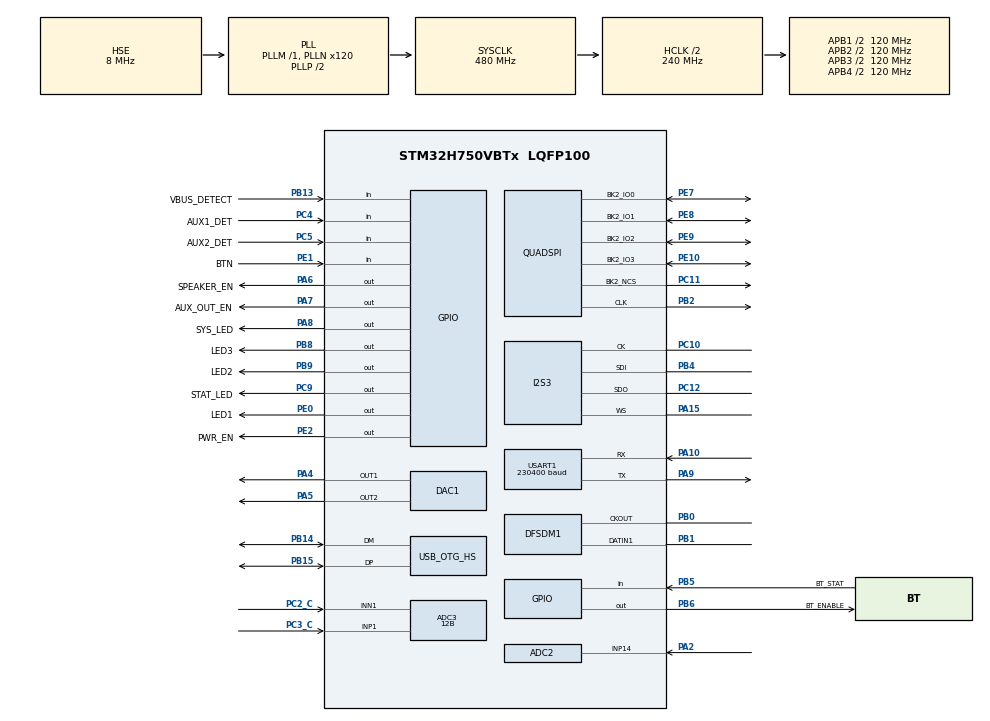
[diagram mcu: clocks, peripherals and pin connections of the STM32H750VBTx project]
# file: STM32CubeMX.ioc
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ADC2.Channel-0\#ChannelRegularConversion=ADC_CHANNEL_14
ADC2.NbrOfConversionFlag=1
ADC2.OffsetNumber-0\#ChannelRegularConversion=ADC_OFFSET_NONE
ADC2.OffsetSignedSaturation-0\#ChannelRegularConversion=DISABLE
ADC2.Rank-0\#ChannelRegularConversion=1
ADC2.Resolution=ADC_RESOLUTION_8B
ADC2.SamplingTime-0\#ChannelRegularConversion=ADC_SAMPLETIME_810CYCLES_5
ADC3.Channel-4\#ChannelRegularConversion=ADC_CHANNEL_1
ADC3.ConversionDataManagement=ADC_CONVERSIONDATA_DMA_CIRCULAR
ADC3.ExternalTrigConv=ADC_EXTERNALTRIG_T6_TRGO
ADC3.NbrOfConversionFlag=1
ADC3.Offset-4\#ChannelRegularConversion=32768
ADC3.OffsetNumber-4\#ChannelRegularConversion=ADC_OFFSET_1
ADC3.OffsetSignedSaturation-4\#ChannelRegularConversion=ENABLE
ADC3.Overrun=ADC_OVR_DATA_OVERWRITTEN
ADC3.OversamplingMode=ENABLE
ADC3.Rank-4\#ChannelRegularConversion=1
ADC3.Ratio=16
ADC3.Resolution=ADC_RESOLUTION_12B
ADC3.SamplingTime-4\#ChannelRegularConversion=ADC_SAMPLETIME_16CYCLES_5
ADC3.SingleDiff-4\#ChannelRegularConversion=ADC_DIFFERENTIAL_ENDED
Bdma.ADC3.0.Direction=DMA_PERIPH_TO_MEMORY
Bdma.ADC3.0.EventEnable=DISABLE
Bdma.ADC3.0.Instance=BDMA_Channel0
Bdma.ADC3.0.MemDataAlignment=DMA_MDATAALIGN_HALFWORD
Bdma.ADC3.0.MemInc=DMA_MINC_ENABLE
Bdma.ADC3.0.Mode=DMA_CIRCULAR
Bdma.ADC3.0.PeriphDataAlignment=DMA_PDATAALIGN_HALFWORD
Bdma.ADC3.0.PeriphInc=DMA_PINC_DISABLE
Bdma.ADC3.0.Polarity=HAL_DMAMUX_REQ_GEN_RISING
Bdma.ADC3.0.Priority=DMA_PRIORITY_LOW
Bdma.ADC3.0.RequestNumber=1
Bdma.ADC3.0.SignalID=NONE
Bdma.ADC3.0.SyncEnable=DISABLE
Bdma.ADC3.0.SyncPolarity=HAL_DMAMUX_SYNC_NO_EVENT
Bdma.ADC3.0.SyncRequestNumber=1
Bdma.ADC3.0.SyncSignalID=NONE
Bdma.Request0=ADC3
Bdma.RequestsNb=1
CORTEX_M7.AccessPermission_S-Cortex_Memory_Protection_Unit_Region1_Settings_S=MPU_REGION_FULL_ACCESS
CORTEX_M7.AccessPermission_S-Cortex_Memory_Protection_Unit_Region2_Settings_S=MPU_REGION_FULL_ACCESS
CORTEX_M7.AccessPermission_Spec=MPU_REGION_FULL_ACCESS
CORTEX_M7.BaseAddress_S-Cortex_Memory_Protection_Unit_Region1_Settings_S=0x30000000
CORTEX_M7.BaseAddress_S-Cortex_Memory_Protection_Unit_Region2_Settings_S=0x38000000
CORTEX_M7.CPU_DCache=Enabled
CORTEX_M7.CPU_ICache=Enabled
CORTEX_M7.DisableExec_S-Cortex_Memory_Protection_Unit_Region1_Settings_S=MPU_INSTRUCTION_ACCESS_DISABLE
CORTEX_M7.DisableExec_S-Cortex_Memory_Protection_Unit_Region2_Settings_S=MPU_INSTRUCTION_ACCESS_DISABLE
CORTEX_M7.DisableExec_Spec=MPU_INSTRUCTION_ACCESS_ENABLE
CORTEX_M7.Enable_S-Cortex_Memory_Protection_Unit_Region1_Settings_S=MPU_REGION_ENABLE
CORTEX_M7.Enable_S-Cortex_Memory_Protection_Unit_Region2_Settings_S=MPU_REGION_ENABLE
CORTEX_M7.Enable_S-Cortex_Memory_Protection_Unit_Region3_Settings_S=__NULL
CORTEX_M7.IsBufferable_Spec=MPU_ACCESS_BUFFERABLE
CORTEX_M7.IsCacheable_Spec=MPU_ACCESS_CACHEABLE
CORTEX_M7.IsShareable_S-Cortex_Memory_Protection_Unit_Region1_Settings_S=MPU_ACCESS_SHAREABLE
CORTEX_M7.IsShareable_S-Cortex_Memory_Protection_Unit_Region2_Settings_S=MPU_ACCESS_SHAREABLE
CORTEX_M7.IsShareable_Spec=MPU_ACCESS_NOT_SHAREABLE
CORTEX_M7.Size_S-Cortex_Memory_Protection_Unit_Region1_Settings_S=MPU_REGION_SIZE_128KB
CORTEX_M7.Size_S-Cortex_Memory_Protection_Unit_Region2_Settings_S=MPU_REGION_SIZE_64KB
CORTEX_M7.default_mode_Activation=1
DAC1.DAC_Channel-DAC_OUT1=DAC_CHANNEL_1
DAC1.DAC_Channel-DAC_OUT2=DAC_CHANNEL_2
DAC1.DAC_Trigger-DAC_OUT1=DAC_TRIGGER_T7_TRGO
DAC1.DAC_Trigger-DAC_OUT2=DAC_TRIGGER_T7_TRGO
DFSDM1.Divider=25
DFSDM1.DmaMode_reg_FIL0=ENABLE
DFSDM1.DmaMode_reg_FIL1=ENABLE
DFSDM1.FastMode_reg_FIL0=ENABLE
DFSDM1.FastMode_reg_FIL1=ENABLE
DFSDM1.Filter_regChannel_FIL0=DFSDM_CHANNEL_0
DFSDM1.Filter_regChannel_FIL1=DFSDM_CHANNEL_1
DFSDM1.Filter_regChannel_FIL2=__NULL
DFSDM1.Filter_regChannel_FIL3=__NULL
DFSDM1.Fosr_FIL0=64
DFSDM1.Fosr_FIL1=64
DFSDM1.RightBitShift_CH0=2
DFSDM1.RightBitShift_CH1=2
DFSDM1.Selection=DFSDM_CHANNEL_OUTPUT_CLOCK_AUDIO
DFSDM1.SincOrder_FIL0=DFSDM_FILTER_SINC4_ORDER
DFSDM1.SincOrder_FIL1=DFSDM_FILTER_SINC4_ORDER
DFSDM1.Trigger_reg_FIL1=DFSDM_FILTER_SYNC_TRIGGER
DFSDM1.Type_spi_CH1=DFSDM_CHANNEL_SPI_FALLING
Dma.DAC1_CH1.3.Direction=DMA_MEMORY_TO_PERIPH
Dma.DAC1_CH1.3.EventEnable=DISABLE
Dma.DAC1_CH1.3.FIFOMode=DMA_FIFOMODE_ENABLE
Dma.DAC1_CH1.3.FIFOThreshold=DMA_FIFO_THRESHOLD_FULL
Dma.DAC1_CH1.3.Instance=DMA1_Stream3
Dma.DAC1_CH1.3.MemBurst=DMA_MBURST_INC4
Dma.DAC1_CH1.3.MemDataAlignment=DMA_MDATAALIGN_WORD
Dma.DAC1_CH1.3.MemInc=DMA_MINC_ENABLE
Dma.DAC1_CH1.3.Mode=DMA_CIRCULAR
Dma.DAC1_CH1.3.PeriphBurst=DMA_PBURST_SINGLE
Dma.DAC1_CH1.3.PeriphDataAlignment=DMA_PDATAALIGN_WORD
Dma.DAC1_CH1.3.PeriphInc=DMA_PINC_DISABLE
Dma.DAC1_CH1.3.Polarity=HAL_DMAMUX_REQ_GEN_RISING
Dma.DAC1_CH1.3.Priority=DMA_PRIORITY_VERY_HIGH
Dma.DAC1_CH1.3.RequestNumber=1
Dma.DAC1_CH1.3.SignalID=NONE
Dma.DAC1_CH1.3.SyncEnable=DISABLE
Dma.DAC1_CH1.3.SyncPolarity=HAL_DMAMUX_SYNC_NO_EVENT
Dma.DAC1_CH1.3.SyncRequestNumber=1
Dma.DAC1_CH1.3.SyncSignalID=NONE
Dma.DFSDM1_FLT0.0.Direction=DMA_PERIPH_TO_MEMORY
Dma.DFSDM1_FLT0.0.EventEnable=DISABLE
Dma.DFSDM1_FLT0.0.FIFOMode=DMA_FIFOMODE_ENABLE
Dma.DFSDM1_FLT0.0.FIFOThreshold=DMA_FIFO_THRESHOLD_FULL
Dma.DFSDM1_FLT0.0.Instance=DMA1_Stream0
Dma.DFSDM1_FLT0.0.MemBurst=DMA_MBURST_INC8
Dma.DFSDM1_FLT0.0.MemDataAlignment=DMA_MDATAALIGN_HALFWORD
Dma.DFSDM1_FLT0.0.MemInc=DMA_MINC_ENABLE
Dma.DFSDM1_FLT0.0.Mode=DMA_CIRCULAR
Dma.DFSDM1_FLT0.0.PeriphBurst=DMA_PBURST_SINGLE
Dma.DFSDM1_FLT0.0.PeriphDataAlignment=DMA_PDATAALIGN_HALFWORD
Dma.DFSDM1_FLT0.0.PeriphInc=DMA_PINC_DISABLE
Dma.DFSDM1_FLT0.0.Polarity=HAL_DMAMUX_REQ_GEN_RISING
Dma.DFSDM1_FLT0.0.Priority=DMA_PRIORITY_VERY_HIGH
Dma.DFSDM1_FLT0.0.RequestNumber=1
Dma.DFSDM1_FLT0.0.SignalID=NONE
Dma.DFSDM1_FLT0.0.SyncEnable=DISABLE
Dma.DFSDM1_FLT0.0.SyncPolarity=HAL_DMAMUX_SYNC_NO_EVENT
Dma.DFSDM1_FLT0.0.SyncRequestNumber=1
Dma.DFSDM1_FLT0.0.SyncSignalID=NONE
Dma.DFSDM1_FLT1.1.Direction=DMA_PERIPH_TO_MEMORY
Dma.DFSDM1_FLT1.1.EventEnable=DISABLE
Dma.DFSDM1_FLT1.1.FIFOMode=DMA_FIFOMODE_ENABLE
Dma.DFSDM1_FLT1.1.FIFOThreshold=DMA_FIFO_THRESHOLD_FULL
Dma.DFSDM1_FLT1.1.Instance=DMA1_Stream1
Dma.DFSDM1_FLT1.1.MemBurst=DMA_MBURST_INC8
Dma.DFSDM1_FLT1.1.MemDataAlignment=DMA_MDATAALIGN_HALFWORD
Dma.DFSDM1_FLT1.1.MemInc=DMA_MINC_ENABLE
Dma.DFSDM1_FLT1.1.Mode=DMA_CIRCULAR
Dma.DFSDM1_FLT1.1.PeriphBurst=DMA_PBURST_SINGLE
Dma.DFSDM1_FLT1.1.PeriphDataAlignment=DMA_PDATAALIGN_HALFWORD
Dma.DFSDM1_FLT1.1.PeriphInc=DMA_PINC_DISABLE
Dma.DFSDM1_FLT1.1.Polarity=HAL_DMAMUX_REQ_GEN_RISING
Dma.DFSDM1_FLT1.1.Priority=DMA_PRIORITY_VERY_HIGH
Dma.DFSDM1_FLT1.1.RequestNumber=1
Dma.DFSDM1_FLT1.1.SignalID=NONE
Dma.DFSDM1_FLT1.1.SyncEnable=DISABLE
Dma.DFSDM1_FLT1.1.SyncPolarity=HAL_DMAMUX_SYNC_NO_EVENT
Dma.DFSDM1_FLT1.1.SyncRequestNumber=1
Dma.DFSDM1_FLT1.1.SyncSignalID=NONE
Dma.Request0=DFSDM1_FLT0
Dma.Request1=DFSDM1_FLT1
Dma.Request2=USART1_TX
Dma.Request3=DAC1_CH1
Dma.Request4=SPI3_RX
Dma.Request5=SPI3_TX
Dma.SPI3_RX.4.Direction=DMA_PERIPH_TO_MEMORY
Dma.SPI3_RX.4.EventEnable=DISABLE
Dma.SPI3_RX.4.FIFOMode=DMA_FIFOMODE_ENABLE
Dma.SPI3_RX.4.FIFOThreshold=DMA_FIFO_THRESHOLD_FULL
Dma.SPI3_RX.4.Instance=DMA1_Stream4
Dma.SPI3_RX.4.MemBurst=DMA_MBURST_INC8
Dma.SPI3_RX.4.MemDataAlignment=DMA_MDATAALIGN_HALFWORD
Dma.SPI3_RX.4.MemInc=DMA_MINC_ENABLE
Dma.SPI3_RX.4.Mode=DMA_CIRCULAR
Dma.SPI3_RX.4.PeriphBurst=DMA_PBURST_SINGLE
Dma.SPI3_RX.4.PeriphDataAlignment=DMA_PDATAALIGN_HALFWORD
Dma.SPI3_RX.4.PeriphInc=DMA_PINC_DISABLE
Dma.SPI3_RX.4.Polarity=HAL_DMAMUX_REQ_GEN_RISING
Dma.SPI3_RX.4.Priority=DMA_PRIORITY_VERY_HIGH
Dma.SPI3_RX.4.RequestNumber=1
Dma.SPI3_RX.4.SignalID=NONE
Dma.SPI3_RX.4.SyncEnable=DISABLE
Dma.SPI3_RX.4.SyncPolarity=HAL_DMAMUX_SYNC_NO_EVENT
Dma.SPI3_RX.4.SyncRequestNumber=1
Dma.SPI3_RX.4.SyncSignalID=NONE
Dma.SPI3_TX.5.Direction=DMA_MEMORY_TO_PERIPH
Dma.SPI3_TX.5.EventEnable=DISABLE
Dma.SPI3_TX.5.FIFOMode=DMA_FIFOMODE_ENABLE
Dma.SPI3_TX.5.FIFOThreshold=DMA_FIFO_THRESHOLD_FULL
Dma.SPI3_TX.5.Instance=DMA1_Stream5
Dma.SPI3_TX.5.MemBurst=DMA_MBURST_INC8
Dma.SPI3_TX.5.MemDataAlignment=DMA_MDATAALIGN_HALFWORD
Dma.SPI3_TX.5.MemInc=DMA_MINC_ENABLE
Dma.SPI3_TX.5.Mode=DMA_CIRCULAR
Dma.SPI3_TX.5.PeriphBurst=DMA_PBURST_SINGLE
Dma.SPI3_TX.5.PeriphDataAlignment=DMA_PDATAALIGN_HALFWORD
Dma.SPI3_TX.5.PeriphInc=DMA_PINC_DISABLE
Dma.SPI3_TX.5.Polarity=HAL_DMAMUX_REQ_GEN_RISING
Dma.SPI3_TX.5.Priority=DMA_PRIORITY_VERY_HIGH
Dma.SPI3_TX.5.RequestNumber=1
Dma.SPI3_TX.5.SignalID=NONE
Dma.SPI3_TX.5.SyncEnable=DISABLE
Dma.SPI3_TX.5.SyncPolarity=HAL_DMAMUX_SYNC_NO_EVENT
Dma.SPI3_TX.5.SyncRequestNumber=1
Dma.SPI3_TX.5.SyncSignalID=NONE
Dma.USART1_TX.2.Direction=DMA_MEMORY_TO_PERIPH
Dma.USART1_TX.2.EventEnable=DISABLE
Dma.USART1_TX.2.FIFOMode=DMA_FIFOMODE_ENABLE
Dma.USART1_TX.2.FIFOThreshold=DMA_FIFO_THRESHOLD_FULL
Dma.USART1_TX.2.Instance=DMA1_Stream2
Dma.USART1_TX.2.MemBurst=DMA_MBURST_INC16
Dma.USART1_TX.2.MemDataAlignment=DMA_MDATAALIGN_BYTE
Dma.USART1_TX.2.MemInc=DMA_MINC_ENABLE
Dma.USART1_TX.2.Mode=DMA_NORMAL
Dma.USART1_TX.2.PeriphBurst=DMA_PBURST_SINGLE
Dma.USART1_TX.2.PeriphDataAlignment=DMA_PDATAALIGN_BYTE
Dma.USART1_TX.2.PeriphInc=DMA_PINC_DISABLE
Dma.USART1_TX.2.Polarity=HAL_DMAMUX_REQ_GEN_RISING
Dma.USART1_TX.2.Priority=DMA_PRIORITY_LOW
Dma.USART1_TX.2.RequestNumber=1
Dma.USART1_TX.2.SignalID=NONE
Dma.USART1_TX.2.SyncEnable=DISABLE
Dma.USART1_TX.2.SyncPolarity=HAL_DMAMUX_SYNC_NO_EVENT
Dma.USART1_TX.2.SyncRequestNumber=1
Dma.USART1_TX.2.SyncSignalID=NONE
I2S3.AudioFreq=AudioFreqCustomValue
I2S3.AudioFreqCustom=24000
I2S3.ErrorAudioFreq=0.0 %
I2S3.Instance=SPI$Index
I2S3.RealAudioFreq=24.0 KHz
I2S3.Standard=I2S_STANDARD_PHILIPS
Mcu.Family=STM32H7
Mcu.Name=STM32H750VBTx
Mcu.Package=LQFP100
Mcu.UserConstants=AUDIO_DAC_TRIG_TIM,$$_TIM7_IP_HANDLE_$$;AUDIO_ADC_TRIG_TIM,$$_TIM6_IP_HANDLE_$$
NVIC.BDMA_Channel0_IRQn=true\:0\:0\:false\:false\:true\:false\:true\:true
NVIC.DMA1_Stream0_IRQn=true\:0\:0\:true\:false\:true\:false\:true\:true
NVIC.DMA1_Stream1_IRQn=true\:0\:0\:true\:false\:true\:false\:true\:true
NVIC.DMA1_Stream2_IRQn=true\:0\:0\:false\:false\:true\:false\:true\:true
NVIC.DMA1_Stream3_IRQn=true\:0\:0\:false\:false\:true\:false\:true\:true
NVIC.DMA1_Stream4_IRQn=true\:0\:0\:false\:false\:true\:false\:true\:true
NVIC.DMA1_Stream5_IRQn=true\:0\:0\:false\:false\:true\:false\:true\:true
NVIC.OTG_HS_IRQn=true\:1\:0\:true\:false\:false\:true\:true\:true
NVIC.PriorityGroup=NVIC_PRIORITYGROUP_4
NVIC.USART1_IRQn=true\:0\:0\:false\:false\:true\:true\:true\:true
PA10.Mode=Asynchronous
PA10.Signal=USART1_RX
PA13\ (JTMS/SWDIO).Mode=Serial_Wire
PA13\ (JTMS/SWDIO).Signal=DEBUG_JTMS-SWDIO
PA14\ (JTCK/SWCLK).Mode=Serial_Wire
PA14\ (JTCK/SWCLK).Signal=DEBUG_JTCK-SWCLK
PA15\ (JTDI).Mode=Full_Duplex_Master
PA15\ (JTDI).Signal=I2S3_WS
PA2.Signal=ADCx_INP14
PA4.Signal=COMP_DAC11_group
PA5.Signal=COMP_DAC12_group
PA6.GPIO_Label=SPEAKER_EN
PA6.GPIO_PuPd=GPIO_NOPULL
PA6.Signal=GPIO_Output
PA7.GPIO_Label=AUX_OUT_EN
PA7.GPIO_PuPd=GPIO_NOPULL
PA7.Signal=GPIO_Output
PA8.GPIO_Label=SYS_LED
PA8.Signal=GPIO_Output
PA9.Mode=Asynchronous
PA9.Signal=USART1_TX
PB0.Signal=S_CKOUTDFSDM1
PB1.Signal=S_DATAIN1DFSDM1
PB13.GPIO_Label=VBUS_DETECT
PB13.Signal=GPIO_Input
PB14.Mode=Device_Only_FS
PB14.Signal=USB_OTG_HS_DM
PB15.Mode=Device_Only_FS
PB15.Signal=USB_OTG_HS_DP
PB2.GPIO_Speed=GPIO_SPEED_FREQ_VERY_HIGH
PB2.Mode=Single Bank 2
PB2.Signal=QUADSPI_CLK
PB4\ (NJTRST).Mode=Full_Duplex_Master
PB4\ (NJTRST).Signal=I2S3_SDI
PB5.GPIO_Label=BT_STAT
PB5.Signal=GPIO_Input
PB6.GPIO_Label=BT_ENABLE
PB6.Signal=GPIO_Output
PB8.GPIO_Label=LED3
PB8.Signal=GPIO_Output
PB9.GPIO_Label=LED2
PB9.Signal=GPIO_Output
PC10.Mode=Full_Duplex_Master
PC10.Signal=I2S3_CK
PC11.GPIO_Speed=GPIO_SPEED_FREQ_VERY_HIGH
PC11.Mode=Single Bank 2
PC11.Signal=QUADSPI_BK2_NCS
PC12.Mode=Full_Duplex_Master
PC12.Signal=I2S3_SDO
PC2_C.Mode=IN1-Differential
PC2_C.Signal=ADC3_INN1
PC3_C.Mode=IN1-Differential
PC3_C.Signal=ADC3_INP1
PC4.GPIO_Label=AUX1_DET
PC4.Signal=GPIO_Input
PC5.GPIO_Label=AUX2_DET
PC5.Signal=GPIO_Input
PC9.GPIO_Label=STAT_LED
PC9.Signal=GPIO_Output
PE0.GPIO_Label=LED1
PE0.Signal=GPIO_Output
PE1.GPIO_Label=BTN
PE1.GPIO_PuPd=GPIO_PULLUP
PE1.Signal=GPIO_Input
PE10.GPIO_Speed=GPIO_SPEED_FREQ_VERY_HIGH
PE10.Mode=Single Bank 2
PE10.Signal=QUADSPI_BK2_IO3
PE2.GPIO_Label=PWR_EN
PE2.Signal=GPIO_Output
PE7.GPIO_Speed=GPIO_SPEED_FREQ_VERY_HIGH
PE7.Mode=Single Bank 2
PE7.Signal=QUADSPI_BK2_IO0
PE8.GPIO_Speed=GPIO_SPEED_FREQ_VERY_HIGH
PE8.Mode=Single Bank 2
PE8.Signal=QUADSPI_BK2_IO1
PE9.GPIO_Speed=GPIO_SPEED_FREQ_VERY_HIGH
PE9.Mode=Single Bank 2
PE9.Signal=QUADSPI_BK2_IO2
PH0-OSC_IN\ (PH0).Mode=HSE-External-Oscillator
PH0-OSC_IN\ (PH0).Signal=RCC_OSC_IN
PH1-OSC_OUT\ (PH1).Mode=HSE-External-Oscillator
PH1-OSC_OUT\ (PH1).Signal=RCC_OSC_OUT
ProjectManager.HeapSize=0x70000
ProjectManager.StackSize=0x1000
ProjectManager.TargetToolchain=MDK-ARM V5
QUADSPI.ClockPrescaler=1
QUADSPI.FlashSize=25
QUADSPI.SampleShifting=QSPI_SAMPLE_SHIFTING_HALFCYCLE
RCC.ADCCLockSelection=RCC_ADCCLKSOURCE_PLL3
RCC.ADCFreq_Value=48000000
RCC.APB1Freq_Value=120000000
RCC.APB2Freq_Value=120000000
RCC.APB3Freq_Value=120000000
RCC.APB4Freq_Value=120000000
RCC.CortexFreq_Value=480000000
RCC.D1PPRE=RCC_APB3_DIV2
RCC.D2PPRE1=RCC_APB1_DIV2
RCC.D2PPRE2=RCC_APB2_DIV2
RCC.D3PPRE=RCC_APB4_DIV2
RCC.DIVM1=1
RCC.DIVM2=1
RCC.DIVM3=1
RCC.DIVN1=120
RCC.DIVN2=48
RCC.DIVN3=30
RCC.DIVP2=5
RCC.DIVP3=5
RCC.DIVQ3=5
RCC.DIVR2=5
RCC.DIVR3=5
RCC.HCLKFreq_Value=240000000
RCC.HPRE=RCC_HCLK_DIV2
RCC.HSE_VALUE=8000000
RCC.PLL2FRACN=0
RCC.PLL3FRACN=0
RCC.PLLFRACN=0
RCC.PLLSourceVirtual=RCC_PLLSOURCE_HSE
RCC.PWR_Regulator_Voltage_Scale=PWR_REGULATOR_VOLTAGE_SCALE0
RCC.RCC_TIM_PRescaler_Selection=RCC_TIMPRES_DESACTIVATED
RCC.SAI1CLockSelection=RCC_SAI1CLKSOURCE_PLL2
RCC.SPI123CLockSelection=RCC_SPI123CLKSOURCE_PLL2
RCC.SYSCLKFreq_VALUE=480000000
RCC.SYSCLKSource=RCC_SYSCLKSOURCE_PLLCLK
RCC.USART16CLockSelection=RCC_USART16CLKSOURCE_PLL3
RCC.USBCLockSelection=RCC_USBCLKSOURCE_PLL3
RCC.USBFreq_Value=48000000
RCC.VDD_VALUE=3
SH.ADCx_INP14.0=ADC2_INP14,IN14-Single-Ended
SH.COMP_DAC11_group.0=DAC1_OUT1,DAC_OUT1
SH.COMP_DAC12_group.0=DAC1_OUT2,DAC_OUT2
SH.S_CKOUTDFSDM1.0=DFSDM1_CKOUT,PDM_SPI_input_from_ch1_and_internal_clock
SH.S_CKOUTDFSDM1.1=DFSDM1_CKOUT,PDM_SPI_Input_from_ch01_and_Internal_Clock
SH.S_DATAIN1DFSDM1.0=DFSDM1_DATIN1,PDM_SPI_input_from_ch1_and_internal_clock
SH.S_DATAIN1DFSDM1.1=DFSDM1_DATIN1,PDM_SPI_Input_from_ch01_and_Internal_Clock
TIM6.Period=99
TIM6.Prescaler=49
TIM6.TIM_MasterOutputTrigger=TIM_TRGO_UPDATE
TIM7.Period=99
TIM7.Prescaler=49
TIM7.TIM_MasterOutputTrigger=TIM_TRGO_UPDATE
USART1.BaudRate=230400
USART1.FIFOMode=FIFOMODE_DISABLE
USART1.Mode=MODE_TX
USART1.RXFIFOThreshold=RXFIFO_THRESHOLD_1EIGHTHFULL
USART1.TXFIFOThreshold=TXFIFO_THRESHOLD_1EIGHTHFULL
USART1.VirtualMode-Asynchronous=VM_ASYNC
USB_OTG_HS.VirtualMode-Device_Only_FS=Device_Only_FS
VP_MEMORYMAP_VS_MEMORYMAP.Mode=CurAppReg
VP_TIM6_VS_ClockSourceINT.Mode=Enable_Timer
VP_TIM7_VS_ClockSourceINT.Mode=Enable_Timer
board=custom

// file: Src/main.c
/* USER CODE BEGIN Header */
/**
 ******************************************************************************
 * @file           : main.c
 * @brief          : Main program body
 ******************************************************************************
 * @attention
 *
 * Copyright (c) 2025 STMicroelectronics.
 * All rights reserved.
 *
 * This software is licensed under terms that can be found in the LICENSE file
 * in the root directory of this software component.
 * If no LICENSE file comes with this software, it is provided AS-IS.
 *
 ******************************************************************************
 */
/* USER CODE END Header */
#include "main.h"
#include "adc.h"
#include "bdma.h"
#include "dac.h"
#include "dfsdm.h"
#include "dma.h"
#include "gpio.h"
#include "i2s.h"
#include "quadspi.h"
#include "tim.h"
#include "usart.h"

/* USER CODE BEGIN Includes */

#include <stdio.h>
#include <stdlib.h>
#include <string.h>

#include "User/audio_buffer.h"
#include "User/audio_io.h"
#include "User/audio_processor.h"
#include "User/battery_monitor.h"
#include "User/event_group.h"
#include "User/retarget.h"
#include "audio/PCM_RES.h"

/* USER CODE END Includes */

/* USER CODE BEGIN PTD */

// 长按开机时间阈值
#define LONG_PRESS_STARTUP_TICK (1U * 1000U)

// 长按关机时间阈值
#define LONG_PRESS_SHUTDOWN_TICK (3U * 1000U)

// 无连接待机超时
#define STAND_BY_TIMEOUT_TICK (30U * 1000U)

/* USER CODE END PTD */

/* USER CODE BEGIN PM */

#define IS_OUT_OF_DATE(current_tick, last_tick, interval) ((current_tick) - (last_tick) >= (interval))

/* USER CODE END PM */

void SystemClock_Config(void);
void PeriphCommonClock_Config(void);
static void MPU_Config(void);

int main(void)
{

    /* MPU Configuration--------------------------------------------------------*/
    MPU_Config();

    /* Enable the CPU Cache */

    /* Enable I-Cache---------------------------------------------------------*/
    SCB_EnableICache();

    /* Enable D-Cache---------------------------------------------------------*/
    SCB_EnableDCache();

    /* MCU Configuration--------------------------------------------------------*/

    /* Reset of all peripherals, Initializes the Flash interface and the Systick. */
    HAL_Init();

    /* Configure the system clock */
    SystemClock_Config();

    /* Configure the peripherals common clocks */
    PeriphCommonClock_Config();

    /* USER CODE BEGIN SysInit */

    __HAL_RCC_D2SRAM1_CLK_ENABLE();
    __HAL_RCC_D2SRAM2_CLK_ENABLE();
    __HAL_RCC_D2SRAM3_CLK_ENABLE();

    // 提前初始化QSPI Flash，以放置更多代码在QSPI Flash
    MX_QUADSPI_Init();
    // 清除ICache，放置ICache缓存了错误的指令
    SCB_InvalidateICache();

    /* USER CODE END SysInit */

    /* Initialize all configured peripherals */
    MX_GPIO_Init();
    MX_DMA_Init();
    MX_BDMA_Init();
    MX_QUADSPI_Init();
    MX_DFSDM1_Init();
    MX_USART1_UART_Init();
    MX_DAC1_Init();
    MX_ADC3_Init();
    MX_TIM6_Init();
    MX_TIM7_Init();
    MX_I2S3_Init();
    MX_ADC2_Init();
    /* USER CODE BEGIN 2 */

    HAL_Delay(LONG_PRESS_STARTUP_TICK);
    HAL_GPIO_WritePin(PWR_EN_GPIO_Port, PWR_EN_Pin, GPIO_PIN_SET);

    stdout_init();
    audio_io_init();
    audio_processor_init();

    /* USER CODE END 2 */

    /* Infinite loop */
    /* USER CODE BEGIN WHILE */

    uint32_t btn_low_continue_tick = 0;
    bool low_battery_triggered = false;
    uint32_t disconnect_tick = HAL_GetTick();

    while (1)
    {
        /* USER CODE END WHILE */

        /* USER CODE BEGIN 3 */

        audio_io_handler();

        if (audio_io_is_connected())
        {
            audio_process();
        }

        if (event_group_check_event(EventGroup1, EventGroup1AudioIoConnected, true))
        {
            printf("Audio IO connected.\n");
        }
        if (event_group_check_event(EventGroup1, EventGroup1AudioIoDisconnected, true))
        {
            audio_processor_reset();
            reset_audio_rb();
            low_battery_triggered = false;
            disconnect_tick = HAL_GetTick();
            printf("Audio IO disconnected.\n");
        }
        if (event_group_check_event(EventGroup1, EventGroup1Tick50Pass, true))
        {
            stdout_maintain();
            battery_monitor_handler();
            if (HAL_GPIO_ReadPin(BTN_GPIO_Port, BTN_Pin) == GPIO_PIN_RESET)
            {
                btn_low_continue_tick += 50;
                if (btn_low_continue_tick >= LONG_PRESS_SHUTDOWN_TICK)
                {
                    HAL_GPIO_WritePin(PWR_EN_GPIO_Port, PWR_EN_Pin, GPIO_PIN_RESET);
                    HAL_PWR_EnterSTANDBYMode();
                }
            }
            else
            {
                btn_low_continue_tick = 0;
            }
        }
        if (event_group_check_event(EventGroup1, EventGroup1Tick250Pass, true))
        {
            if (audio_io_is_connected() == false)
            {
                HAL_GPIO_TogglePin(STAT_LED_GPIO_Port, STAT_LED_Pin);
            }
        }
        if (event_group_check_event(EventGroup1, EventGroup1Tick500Pass, true))
        {
            HAL_GPIO_TogglePin(SYS_LED_GPIO_Port, SYS_LED_Pin);
        }
        if (event_group_check_event(EventGroup1, EventGroup1Tick1000Pass, true))
        {
            if (audio_io_is_connected() == true)
            {
                HAL_GPIO_TogglePin(STAT_LED_GPIO_Port, STAT_LED_Pin);
            }
            if (audio_io_is_connected() == false && HAL_GetTick() - disconnect_tick >= STAND_BY_TIMEOUT_TICK)
            {
                HAL_GPIO_WritePin(PWR_EN_GPIO_Port, PWR_EN_Pin, GPIO_PIN_RESET);
                HAL_PWR_EnterSTANDBYMode();
            }
        }
        if (event_group_check_event(EventGroup1, EventGroup1Tick5000Pass, true))
        {
            float_t bat_voltage = battery_monitor_get_voltage();
            printf("Battery voltage: %.2fV\n", bat_voltage);
            if (bat_voltage < 3.3F && audio_io_is_connected() && low_battery_triggered == false)
            {
                low_battery_triggered = true;
                audio_io_play_prompt(BATTERY_LOW_PCM_IDX);
            }
        }
    }
    /* USER CODE END 3 */
}

void SystemClock_Config(void)
{
    RCC_OscInitTypeDef RCC_OscInitStruct = {0};
    RCC_ClkInitTypeDef RCC_ClkInitStruct = {0};

    /** Supply configuration update enable
     */
    HAL_PWREx_ConfigSupply(PWR_LDO_SUPPLY);

    /** Configure the main internal regulator output voltage
     */
    __HAL_PWR_VOLTAGESCALING_CONFIG(PWR_REGULATOR_VOLTAGE_SCALE0);

    while (!__HAL_PWR_GET_FLAG(PWR_FLAG_VOSRDY))
    {
    }

    /** Initializes the RCC Oscillators according to the specified parameters
     * in the RCC_OscInitTypeDef structure.
     */
    RCC_OscInitStruct.OscillatorType = RCC_OSCILLATORTYPE_HSE;
    RCC_OscInitStruct.HSEState = RCC_HSE_ON;
    RCC_OscInitStruct.PLL.PLLState = RCC_PLL_ON;
    RCC_OscInitStruct.PLL.PLLSource = RCC_PLLSOURCE_HSE;
    RCC_OscInitStruct.PLL.PLLM = 1;
    RCC_OscInitStruct.PLL.PLLN = 120;
    RCC_OscInitStruct.PLL.PLLP = 2;
    RCC_OscInitStruct.PLL.PLLQ = 2;
    RCC_OscInitStruct.PLL.PLLR = 2;
    RCC_OscInitStruct.PLL.PLLRGE = RCC_PLL1VCIRANGE_3;
    RCC_OscInitStruct.PLL.PLLVCOSEL = RCC_PLL1VCOWIDE;
    RCC_OscInitStruct.PLL.PLLFRACN = 0;
    if (HAL_RCC_OscConfig(&RCC_OscInitStruct) != HAL_OK)
    {
        Error_Handler();
    }

    /** Initializes the CPU, AHB and APB buses clocks
     */
    RCC_ClkInitStruct.ClockType = RCC_CLOCKTYPE_HCLK | RCC_CLOCKTYPE_SYSCLK | RCC_CLOCKTYPE_PCLK1 |
                                  RCC_CLOCKTYPE_PCLK2 | RCC_CLOCKTYPE_D3PCLK1 | RCC_CLOCKTYPE_D1PCLK1;
    RCC_ClkInitStruct.SYSCLKSource = RCC_SYSCLKSOURCE_PLLCLK;
    RCC_ClkInitStruct.SYSCLKDivider = RCC_SYSCLK_DIV1;
    RCC_ClkInitStruct.AHBCLKDivider = RCC_HCLK_DIV2;
    RCC_ClkInitStruct.APB3CLKDivider = RCC_APB3_DIV2;
    RCC_ClkInitStruct.APB1CLKDivider = RCC_APB1_DIV2;
    RCC_ClkInitStruct.APB2CLKDivider = RCC_APB2_DIV2;
    RCC_ClkInitStruct.APB4CLKDivider = RCC_APB4_DIV2;

    if (HAL_RCC_ClockConfig(&RCC_ClkInitStruct, FLASH_LATENCY_4) != HAL_OK)
    {
        Error_Handler();
    }
}

void PeriphCommonClock_Config(void)
{
    RCC_PeriphCLKInitTypeDef PeriphClkInitStruct = {0};

    /** Initializes the peripherals clock
     */
    PeriphClkInitStruct.PeriphClockSelection =
        RCC_PERIPHCLK_USB | RCC_PERIPHCLK_ADC | RCC_PERIPHCLK_SAI1 | RCC_PERIPHCLK_SPI3 | RCC_PERIPHCLK_USART1;
    PeriphClkInitStruct.PLL2.PLL2M = 1;
    PeriphClkInitStruct.PLL2.PLL2N = 48;
    PeriphClkInitStruct.PLL2.PLL2P = 5;
    PeriphClkInitStruct.PLL2.PLL2Q = 2;
    PeriphClkInitStruct.PLL2.PLL2R = 5;
    PeriphClkInitStruct.PLL2.PLL2RGE = RCC_PLL2VCIRANGE_3;
    PeriphClkInitStruct.PLL2.PLL2VCOSEL = RCC_PLL2VCOWIDE;
    PeriphClkInitStruct.PLL2.PLL2FRACN = 0;
    PeriphClkInitStruct.PLL3.PLL3M = 1;
    PeriphClkInitStruct.PLL3.PLL3N = 30;
    PeriphClkInitStruct.PLL3.PLL3P = 5;
    PeriphClkInitStruct.PLL3.PLL3Q = 5;
    PeriphClkInitStruct.PLL3.PLL3R = 5;
    PeriphClkInitStruct.PLL3.PLL3RGE = RCC_PLL3VCIRANGE_3;
    PeriphClkInitStruct.PLL3.PLL3VCOSEL = RCC_PLL3VCOWIDE;
    PeriphClkInitStruct.PLL3.PLL3FRACN = 0;
    PeriphClkInitStruct.Sai1ClockSelection = RCC_SAI1CLKSOURCE_PLL2;
    PeriphClkInitStruct.Spi123ClockSelection = RCC_SPI123CLKSOURCE_PLL2;
    PeriphClkInitStruct.Usart16ClockSelection = RCC_USART16CLKSOURCE_PLL3;
    PeriphClkInitStruct.UsbClockSelection = RCC_USBCLKSOURCE_PLL3;
    PeriphClkInitStruct.AdcClockSelection = RCC_ADCCLKSOURCE_PLL3;
    if (HAL_RCCEx_PeriphCLKConfig(&PeriphClkInitStruct) != HAL_OK)
    {
        Error_Handler();
    }
}

/* USER CODE BEGIN 4 */

void period_event_tick()
{
    static size_t last_tick[5] = {0U};
    const size_t interval_tick[] = {50U, 250U, 500U, 1000U, 5000U};
    const uint32_t event_bit[] = {EventGroup1Tick50Pass, EventGroup1Tick250Pass, EventGroup1Tick500Pass,
                                  EventGroup1Tick1000Pass, EventGroup1Tick5000Pass};
    size_t tick = HAL_GetTick();
    for (size_t i = 0; i < sizeof(last_tick) / sizeof(last_tick[0]); i++)
    {
        if (IS_OUT_OF_DATE(tick, last_tick[i], interval_tick[i]))
        {
            last_tick[i] = tick;
            event_group_set_event(EventGroup1, event_bit[i]);
        }
    }
}

/* USER CODE END 4 */

/* MPU Configuration */

void MPU_Config(void)
{
    MPU_Region_InitTypeDef MPU_InitStruct = {0};

    /* Disables the MPU */
    HAL_MPU_Disable();

    /** Initializes and configures the Region and the memory to be protected
     */
    MPU_InitStruct.Enable = MPU_REGION_ENABLE;
    MPU_InitStruct.Number = MPU_REGION_NUMBER0;
    MPU_InitStruct.BaseAddress = 0x0;
    MPU_InitStruct.Size = MPU_REGION_SIZE_4GB;
    MPU_InitStruct.SubRegionDisable = 0x87;
    MPU_InitStruct.TypeExtField = MPU_TEX_LEVEL0;
    MPU_InitStruct.AccessPermission = MPU_REGION_FULL_ACCESS;
    MPU_InitStruct.DisableExec = MPU_INSTRUCTION_ACCESS_ENABLE;
    MPU_InitStruct.IsShareable = MPU_ACCESS_NOT_SHAREABLE;
    MPU_InitStruct.IsCacheable = MPU_ACCESS_CACHEABLE;
    MPU_InitStruct.IsBufferable = MPU_ACCESS_BUFFERABLE;

    HAL_MPU_ConfigRegion(&MPU_InitStruct);

    /** Initializes and configures the Region and the memory to be protected
     */
    MPU_InitStruct.Number = MPU_REGION_NUMBER1;
    MPU_InitStruct.BaseAddress = 0x30000000;
    MPU_InitStruct.Size = MPU_REGION_SIZE_128KB;
    MPU_InitStruct.SubRegionDisable = 0x0;
    MPU_InitStruct.DisableExec = MPU_INSTRUCTION_ACCESS_DISABLE;
    MPU_InitStruct.IsShareable = MPU_ACCESS_SHAREABLE;
    MPU_InitStruct.IsCacheable = MPU_ACCESS_NOT_CACHEABLE;
    MPU_InitStruct.IsBufferable = MPU_ACCESS_NOT_BUFFERABLE;

    HAL_MPU_ConfigRegion(&MPU_InitStruct);

    /** Initializes and configures the Region and the memory to be protected
     */
    MPU_InitStruct.Number = MPU_REGION_NUMBER2;
    MPU_InitStruct.BaseAddress = 0x38000000;
    MPU_InitStruct.Size = MPU_REGION_SIZE_64KB;

    HAL_MPU_ConfigRegion(&MPU_InitStruct);
    /* Enables the MPU */
    HAL_MPU_Enable(MPU_PRIVILEGED_DEFAULT);
}

void Error_Handler(void)
{
    /* USER CODE BEGIN Error_Handler_Debug */
    HAL_UART_Transmit(&huart1, (uint8_t *)"Error!", sizeof("Error!"), 1000);
    /* User can add his own implementation to report the HAL error return state */
    __disable_irq();
    while (1)
    {
    }
    /* USER CODE END Error_Handler_Debug */
}
